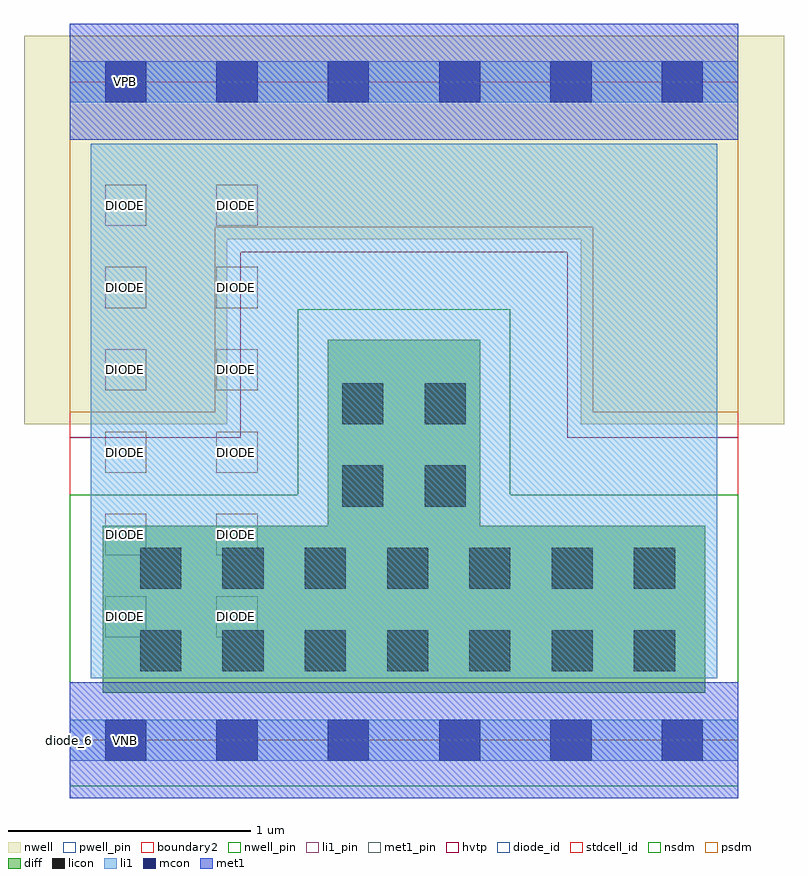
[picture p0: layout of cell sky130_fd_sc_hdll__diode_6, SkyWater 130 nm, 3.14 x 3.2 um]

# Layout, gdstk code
import gdstk
lib = gdstk.Library(unit=1e-6, precision=1e-09)
def R(c, l, rs):  # rectangles x0, y0, x1, y1
    for r in rs: c.add(gdstk.rectangle(r[:2], r[2:], *l))
def A(c, l, x, y, w, h, nx, ny, dx, dy):  # array of equal rectangles
    R(c, l, [(x+i*dx, y+j*dy, x+i*dx+w, y+j*dy+h) for i in range(nx) for j in range(ny)])
def P(c, l, *ps):  # polygons
    for p in ps: c.add(gdstk.Polygon(p, *l))
nwell_pin = (64, 16)
nwell = (64, 20)
diff = (65, 20)
licon = (66, 44)
li1_pin = (67, 16)
li1 = (67, 20)
mcon = (67, 44)
met1_pin = (68, 16)
met1 = (68, 20)
hvtp = (78, 44)
stdcell_id = (81, 4)
diode_id = (81, 23)
nsdm = (93, 44)
psdm = (94, 20)
pwell_pin = (122, 16)
boundary2 = (236, 0)

sky130_fd_sc_hdll__diode = lib.new_cell('sky130_fd_sc_hdll__diode_6')
R(sky130_fd_sc_hdll__diode, nwell_pin, [(0.145,2.635,0.315,2.805)])
P(sky130_fd_sc_hdll__diode, nwell, [(2.95,2.91),(-0.19,2.91),(-0.19,1.305),(0.65,1.305),(0.65,2.07),(2.11,2.07),(2.11,1.305),(2.95,1.305)])
P(sky130_fd_sc_hdll__diode, diff, [(2.625,0.885),(1.695,0.885),(1.695,1.655),(1.065,1.655),(1.065,0.885),(0.135,0.885),(0.135,0.195),(2.625,0.195)])
A(sky130_fd_sc_hdll__diode, licon, 0.29, 0.285, 0.17, 0.17, 7, 2, 0.34, 0.34)
R(sky130_fd_sc_hdll__diode, licon, [(1.125,0.965,1.295,1.135), (1.465,0.965,1.635,1.135), (1.125,1.305,1.295,1.475), (1.465,1.305,1.635,1.475)])
A(sky130_fd_sc_hdll__diode, li1_pin, 0.145, 0.425, 0.17, 0.17, 1, 6, 0, 0.34)
A(sky130_fd_sc_hdll__diode, li1_pin, 0.605, 0.425, 0.17, 0.17, 1, 6, 0, 0.34)
R(sky130_fd_sc_hdll__diode, li1, [(0.085,0.255,2.675,2.465)])
A(sky130_fd_sc_hdll__diode, mcon, 0.145, -0.085, 0.17, 0.17, 6, 2, 0.46, 2.72)
R(sky130_fd_sc_hdll__diode, met1_pin, [(0.145,-0.085,0.315,0.085), (0.145,2.635,0.315,2.805)])
P(sky130_fd_sc_hdll__diode, hvtp, [(2.76,2.72),(0,2.72),(0,1.25),(0.705,1.25),(0.705,2.015),(2.055,2.015),(2.055,1.25),(2.76,1.25)])
R(sky130_fd_sc_hdll__diode, stdcell_id, [(0,0,2.76,2.72)])
P(sky130_fd_sc_hdll__diode, diode_id, [(2.625,0.885),(1.695,0.885),(1.695,1.655),(1.065,1.655),(1.065,0.885),(0.135,0.885),(0.135,0.195),(2.625,0.195)])
R(sky130_fd_sc_hdll__diode, nsdm, [(0,-0.19,2.76,1.015), (0.94,1.015,1.82,1.78)])
P(sky130_fd_sc_hdll__diode, psdm, [(2.76,2.91),(0,2.91),(0,1.355),(0.6,1.355),(0.6,2.12),(2.16,2.12),(2.16,1.355),(2.76,1.355)])
R(sky130_fd_sc_hdll__diode, pwell_pin, [(0.145,-0.085,0.315,0.085)])
R(sky130_fd_sc_hdll__diode, boundary2, [(0,0,2.76,2.72)])
sky130_fd_sc_hdll__diode.add(gdstk.FlexPath([(0,0),(2.76,0)], 0.17, ends="flush", simple_path=True, layer=67, datatype=20))  # li1
sky130_fd_sc_hdll__diode.add(gdstk.FlexPath([(0,2.72),(2.76,2.72)], 0.17, ends="flush", simple_path=True, layer=67, datatype=20))  # li1
sky130_fd_sc_hdll__diode.add(gdstk.FlexPath([(0,0),(2.76,0)], 0.48, ends="flush", simple_path=True, layer=68, datatype=20))  # met1
sky130_fd_sc_hdll__diode.add(gdstk.FlexPath([(0,2.72),(2.76,2.72)], 0.48, ends="flush", simple_path=True, layer=68, datatype=20))  # met1
sky130_fd_sc_hdll__diode.add(gdstk.Label('diode_6', (0,0), layer=83, texttype=44))
sky130_fd_sc_hdll__diode.add(gdstk.Label('VNB', (0.23,0), layer=64, texttype=59))
sky130_fd_sc_hdll__diode.add(gdstk.Label('VPB', (0.23,2.72), layer=64, texttype=5))
sky130_fd_sc_hdll__diode.add(gdstk.Label('VGND', (0.23,0), layer=68, texttype=5))
sky130_fd_sc_hdll__diode.add(gdstk.Label('VPWR', (0.23,2.72), layer=68, texttype=5))
sky130_fd_sc_hdll__diode.add(gdstk.Label('DIODE', (0.23,0.51), layer=67, texttype=5))
sky130_fd_sc_hdll__diode.add(gdstk.Label('DIODE', (0.23,0.85), layer=67, texttype=5))
sky130_fd_sc_hdll__diode.add(gdstk.Label('DIODE', (0.69,0.85), layer=67, texttype=5))
sky130_fd_sc_hdll__diode.add(gdstk.Label('DIODE', (0.69,1.19), layer=67, texttype=5))
sky130_fd_sc_hdll__diode.add(gdstk.Label('DIODE', (0.69,0.51), layer=67, texttype=5))
sky130_fd_sc_hdll__diode.add(gdstk.Label('DIODE', (0.69,1.87), layer=67, texttype=5))
sky130_fd_sc_hdll__diode.add(gdstk.Label('DIODE', (0.23,1.19), layer=67, texttype=5))
sky130_fd_sc_hdll__diode.add(gdstk.Label('DIODE', (0.23,1.87), layer=67, texttype=5))
sky130_fd_sc_hdll__diode.add(gdstk.Label('DIODE', (0.69,2.21), layer=67, texttype=5))
sky130_fd_sc_hdll__diode.add(gdstk.Label('DIODE', (0.23,2.21), layer=67, texttype=5))
sky130_fd_sc_hdll__diode.add(gdstk.Label('DIODE', (0.23,1.53), layer=67, texttype=5))
sky130_fd_sc_hdll__diode.add(gdstk.Label('DIODE', (0.69,1.53), layer=67, texttype=5))

lib.write_gds('sky130_fd_sc_hdll__diode_6.gds')
